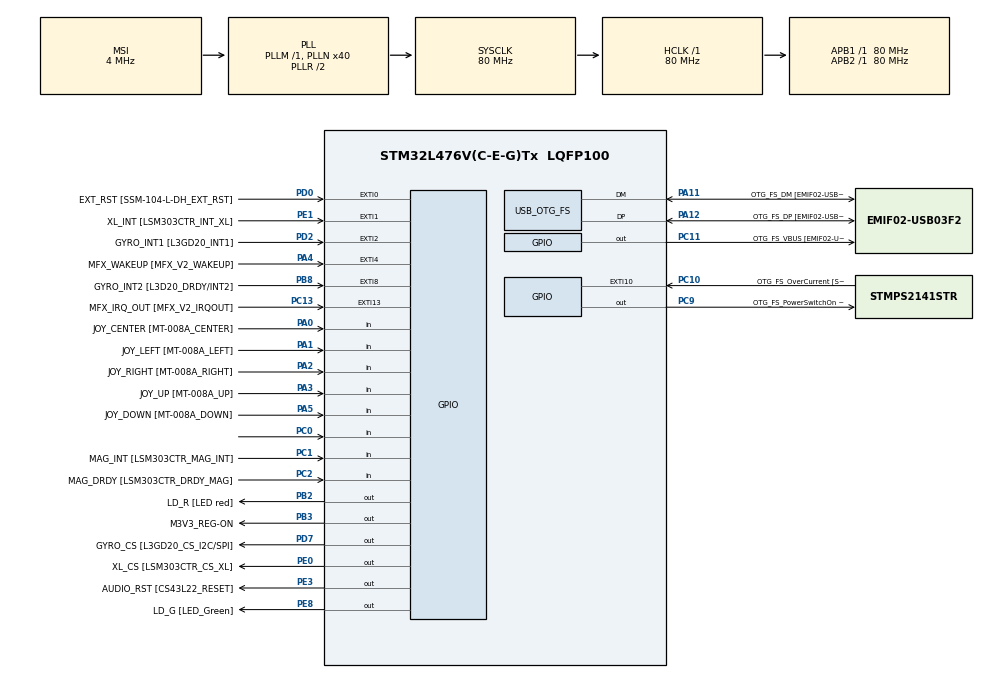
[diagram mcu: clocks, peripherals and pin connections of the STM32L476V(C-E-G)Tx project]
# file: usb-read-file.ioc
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Mcu.Family=STM32L4
Mcu.Name=STM32L476V(C-E-G)Tx
Mcu.Package=LQFP100
NVIC.OTG_FS_IRQn=true\:0\:0\:false\:false\:true\:true\:true\:true
NVIC.PriorityGroup=NVIC_PRIORITYGROUP_4
PA0.GPIO_Label=JOY_CENTER [MT-008A_CENTER]
PA0.GPIO_Mode=GPIO_MODE_INPUT
PA0.GPIO_PuPd=GPIO_PULLDOWN
PA0.Signal=GPIO_Input
PA1.GPIO_Label=JOY_LEFT [MT-008A_LEFT]
PA1.GPIO_Mode=GPIO_MODE_INPUT
PA1.GPIO_PuPd=GPIO_PULLDOWN
PA1.Signal=GPIO_Input
PA10.GPIO_Label=COM2 [GH08172T_COM2]
PA10.GPIO_Mode=GPIO_MODE_AF_PP
PA10.GPIO_PuPd=GPIO_NOPULL
PA10.GPIO_Speed=GPIO_SPEED_FREQ_LOW
PA10.Signal=LCD_COM2
PA11.GPIO_Label=OTG_FS_DM [EMIF02-USB03F2_D-out]
PA11.GPIO_Mode=GPIO_MODE_AF_PP
PA11.GPIO_PuPd=GPIO_NOPULL
PA11.GPIO_Speed=GPIO_SPEED_FREQ_VERY_HIGH
PA11.Mode=Host_Only
PA11.Signal=USB_OTG_FS_DM
PA12.GPIO_Label=OTG_FS_DP [EMIF02-USB03F2_D+out]
PA12.GPIO_Mode=GPIO_MODE_AF_PP
PA12.GPIO_PuPd=GPIO_NOPULL
PA12.GPIO_Speed=GPIO_SPEED_FREQ_VERY_HIGH
PA12.Mode=Host_Only
PA12.Signal=USB_OTG_FS_DP
PA13\ (JTMS-SWDIO).GPIO_Label=SWDIO
PA13\ (JTMS-SWDIO).Mode=Serial_Wire
PA13\ (JTMS-SWDIO).Signal=SYS_JTMS-SWDIO
PA14\ (JTCK-SWCLK).GPIO_Label=SWCLK
PA14\ (JTCK-SWCLK).Mode=Serial_Wire
PA14\ (JTCK-SWCLK).Signal=SYS_JTCK-SWCLK
PA15\ (JTDI).GPIO_Label=SEG10 [GH08172T_SEG10]
PA15\ (JTDI).GPIO_Mode=GPIO_MODE_AF_PP
PA15\ (JTDI).GPIO_PuPd=GPIO_NOPULL
PA15\ (JTDI).GPIO_Speed=GPIO_SPEED_FREQ_LOW
PA15\ (JTDI).Signal=LCD_SEG17
PA2.GPIO_Label=JOY_RIGHT [MT-008A_RIGHT]
PA2.GPIO_Mode=GPIO_MODE_INPUT
PA2.GPIO_PuPd=GPIO_PULLDOWN
PA2.Signal=GPIO_Input
PA3.GPIO_Label=JOY_UP [MT-008A_UP]
PA3.GPIO_Mode=GPIO_MODE_INPUT
PA3.GPIO_PuPd=GPIO_PULLDOWN
PA3.Signal=GPIO_Input
PA4.GPIO_Label=MFX_WAKEUP [MFX_V2_WAKEUP]
PA4.GPIO_ModeDefaultEXTI=GPIO_MODE_EVT_RISING
PA4.GPIO_PuPd=GPIO_NOPULL
PA4.Signal=GPXTI4
PA5.GPIO_Label=JOY_DOWN [MT-008A_DOWN]
PA5.GPIO_Mode=GPIO_MODE_INPUT
PA5.GPIO_PuPd=GPIO_PULLDOWN
PA5.Signal=GPIO_Input
PA6.GPIO_Label=SEG23 [GH08172T_SEG23]
PA6.GPIO_Mode=GPIO_MODE_AF_PP
PA6.GPIO_PuPd=GPIO_NOPULL
PA6.GPIO_Speed=GPIO_SPEED_FREQ_LOW
PA6.Signal=LCD_SEG3
PA7.GPIO_Label=SEG0 [GH08172T_SEG0]
PA7.GPIO_Mode=GPIO_MODE_AF_PP
PA7.GPIO_PuPd=GPIO_NOPULL
PA7.GPIO_Speed=GPIO_SPEED_FREQ_LOW
PA7.Signal=LCD_SEG4
PA8.GPIO_Label=COM0 [GH08172T_COM0]
PA8.GPIO_Mode=GPIO_MODE_AF_PP
PA8.GPIO_PuPd=GPIO_NOPULL
PA8.GPIO_Speed=GPIO_SPEED_FREQ_LOW
PA8.Signal=LCD_COM0
PA9.GPIO_Label=COM1 [GH08172T_COM1]
PA9.GPIO_Mode=GPIO_MODE_AF_PP
PA9.GPIO_PuPd=GPIO_NOPULL
PA9.GPIO_Speed=GPIO_SPEED_FREQ_LOW
PA9.Signal=LCD_COM1
PB0.GPIO_Label=SEG21 [GH08172T_SEG21]
PB0.GPIO_Mode=GPIO_MODE_AF_PP
PB0.GPIO_PuPd=GPIO_NOPULL
PB0.GPIO_Speed=GPIO_SPEED_FREQ_LOW
PB0.Signal=LCD_SEG5
PB1.GPIO_Label=SEG2 [GH08172T_SEG2]
PB1.GPIO_Mode=GPIO_MODE_AF_PP
PB1.GPIO_PuPd=GPIO_NOPULL
PB1.GPIO_Speed=GPIO_SPEED_FREQ_LOW
PB1.Signal=LCD_SEG6
PB10.GPIO_Label=MFX_I2C_SLC [MFX_V2_I2C_SCL]
PB10.GPIO_Mode=GPIO_MODE_AF_OD
PB10.GPIO_PuPdOD=GPIO_PULLUP
PB10.GPIO_Speed=GPIO_SPEED_FREQ_VERY_HIGH
PB10.Signal=I2C2_SCL
PB11.GPIO_Label=MFX_I2C_SDA [MFX_V2_I2C_SDA]
PB11.GPIO_Mode=GPIO_MODE_AF_OD
PB11.GPIO_PuPdOD=GPIO_PULLUP
PB11.GPIO_Speed=GPIO_SPEED_FREQ_VERY_HIGH
PB11.Signal=I2C2_SDA
PB12.GPIO_Label=SEG20 [GH08172T_SEG20]
PB12.GPIO_Mode=GPIO_MODE_AF_PP
PB12.GPIO_PuPd=GPIO_NOPULL
PB12.GPIO_Speed=GPIO_SPEED_FREQ_LOW
PB12.Signal=LCD_SEG12
PB13.GPIO_Label=SEG3 [GH08172T_SEG3]
PB13.GPIO_Mode=GPIO_MODE_AF_PP
PB13.GPIO_PuPd=GPIO_NOPULL
PB13.GPIO_Speed=GPIO_SPEED_FREQ_LOW
PB13.Signal=LCD_SEG13
PB14.GPIO_Label=SEG19 [GH08172T_SEG19]
PB14.GPIO_Mode=GPIO_MODE_AF_PP
PB14.GPIO_PuPd=GPIO_NOPULL
PB14.GPIO_Speed=GPIO_SPEED_FREQ_LOW
PB14.Signal=LCD_SEG14
PB15.GPIO_Label=SEG4 [GH08172T_SEG4]
PB15.GPIO_Mode=GPIO_MODE_AF_PP
PB15.GPIO_PuPd=GPIO_NOPULL
PB15.GPIO_Speed=GPIO_SPEED_FREQ_LOW
PB15.Signal=LCD_SEG15
PB2.GPIO_Label=LD_R [LED red]
PB2.GPIO_ModeDefaultOutputPP=GPIO_MODE_OUTPUT_PP
PB2.GPIO_PuPd=GPIO_PULLUP
PB2.GPIO_Speed=GPIO_SPEED_FREQ_VERY_HIGH
PB2.Signal=GPIO_Output
PB3\ (JTDO-TRACESWO).GPIO_Label=M3V3_REG-ON
PB3\ (JTDO-TRACESWO).GPIO_ModeDefaultOutputPP=GPIO_MODE_OUTPUT_PP
PB3\ (JTDO-TRACESWO).GPIO_PuPd=GPIO_NOPULL
PB3\ (JTDO-TRACESWO).GPIO_Speed=GPIO_SPEED_FREQ_LOW
PB3\ (JTDO-TRACESWO).Signal=GPIO_Output
PB4\ (NJTRST).GPIO_Label=SEG11 [GH08172T_SEG11]
PB4\ (NJTRST).GPIO_Mode=GPIO_MODE_AF_PP
PB4\ (NJTRST).GPIO_PuPd=GPIO_NOPULL
PB4\ (NJTRST).GPIO_Speed=GPIO_SPEED_FREQ_LOW
PB4\ (NJTRST).Signal=LCD_SEG8
PB5.GPIO_Label=SEG12 [GH08172T_SEG12]
PB5.GPIO_Mode=GPIO_MODE_AF_PP
PB5.GPIO_PuPd=GPIO_NOPULL
PB5.GPIO_Speed=GPIO_SPEED_FREQ_LOW
PB5.Signal=LCD_SEG9
PB6.GPIO_FM6=__NULL
PB6.GPIO_Label=I2C1_SCL [SSM-104-L-DH_SCL]
PB6.GPIO_Mode=GPIO_MODE_AF_OD
PB6.GPIO_PuPdOD=GPIO_PULLUP
PB6.GPIO_Speed=GPIO_SPEED_FREQ_VERY_HIGH
PB6.Signal=I2C1_SCL
PB7.GPIO_FM7=__NULL
PB7.GPIO_Label=I2C1_SDA [SSM-104-L-DH_SDA]
PB7.GPIO_Mode=GPIO_MODE_AF_OD
PB7.GPIO_PuPdOD=GPIO_PULLUP
PB7.GPIO_Speed=GPIO_SPEED_FREQ_VERY_HIGH
PB7.Signal=I2C1_SDA
PB8.GPIO_Label=GYRO_INT2 [L3D20_DRDY/INT2]
PB8.GPIO_ModeDefaultEXTI=GPIO_MODE_EVT_RISING
PB8.GPIO_PuPd=GPIO_NOPULL
PB8.Signal=GPXTI8
PB9.GPIO_FM9=__NULL
PB9.GPIO_Label=COM3 [GH08172T_COM3]
PB9.GPIO_Mode=GPIO_MODE_AF_PP
PB9.GPIO_PuPd=GPIO_NOPULL
PB9.GPIO_Speed=GPIO_SPEED_FREQ_LOW
PB9.Signal=LCD_COM3
PC0.Signal=GPIO_Input
PC1.GPIO_Label=MAG_INT [LSM303CTR_MAG_INT]
PC1.GPIO_Mode=GPIO_MODE_INPUT
PC1.GPIO_PuPd=GPIO_NOPULL
PC1.Signal=GPIO_Input
PC10.GPIO_Label=OTG_FS_OverCurrent [STMPS2141STR_FAULT]
PC10.GPIO_ModeDefaultEXTI=GPIO_MODE_EVT_RISING
PC10.GPIO_PuPd=GPIO_NOPULL
PC10.Signal=GPXTI10
PC11.GPIO_Label=OTG_FS_VBUS [EMIF02-USB03F2_Vbus]
PC11.GPIO_ModeDefaultOutputPP=GPIO_MODE_OUTPUT_PP
PC11.GPIO_PuPd=GPIO_NOPULL
PC11.GPIO_Speed=GPIO_SPEED_FREQ_LOW
PC11.Signal=GPIO_Output
PC13.GPIO_Label=MFX_IRQ_OUT [MFX_V2_IRQOUT]
PC13.GPIO_ModeDefaultEXTI=GPIO_MODE_EVT_RISING
PC13.GPIO_PuPd=GPIO_NOPULL
PC13.Signal=GPXTI13
PC14-OSC32_IN\ (PC14).Mode=LSE-External-Oscillator
PC14-OSC32_IN\ (PC14).Signal=RCC_OSC32_IN
PC15-OSC32_OUT\ (PC15).Mode=LSE-External-Oscillator
PC15-OSC32_OUT\ (PC15).Signal=RCC_OSC32_OUT
PC2.GPIO_Label=MAG_DRDY [LSM303CTR_DRDY_MAG]
PC2.GPIO_Mode=GPIO_MODE_INPUT
PC2.GPIO_PuPd=GPIO_NOPULL
PC2.Signal=GPIO_Input
PC3.GPIO_Label=VLCD
PC3.GPIO_Mode=GPIO_MODE_AF_PP
PC3.GPIO_PuPd=GPIO_NOPULL
PC3.GPIO_Speed=GPIO_SPEED_FREQ_LOW
PC3.Signal=LCD_VLCD
PC4.GPIO_Label=SEG22 [GH08172T_SEG22]
PC4.GPIO_Mode=GPIO_MODE_AF_PP
PC4.GPIO_PuPd=GPIO_NOPULL
PC4.GPIO_Speed=GPIO_SPEED_FREQ_LOW
PC4.Signal=LCD_SEG22
PC5.GPIO_Label=SEG1 [GH08172T_SEG1]
PC5.GPIO_Mode=GPIO_MODE_AF_PP
PC5.GPIO_PuPd=GPIO_NOPULL
PC5.GPIO_Speed=GPIO_SPEED_FREQ_LOW
PC5.Signal=LCD_SEG23
PC6.GPIO_Label=SEG14 [GH08172T_SEG14]
PC6.GPIO_Mode=GPIO_MODE_AF_PP
PC6.GPIO_PuPd=GPIO_NOPULL
PC6.GPIO_Speed=GPIO_SPEED_FREQ_LOW
PC6.Signal=LCD_SEG24
PC7.GPIO_Label=SEG9 [GH08172T_SEG9]
PC7.GPIO_Mode=GPIO_MODE_AF_PP
PC7.GPIO_PuPd=GPIO_NOPULL
PC7.GPIO_Speed=GPIO_SPEED_FREQ_LOW
PC7.Signal=LCD_SEG25
PC8.GPIO_Label=SEG13 [GH08172T_SEG13]
PC8.GPIO_Mode=GPIO_MODE_AF_PP
PC8.GPIO_PuPd=GPIO_NOPULL
PC8.GPIO_Speed=GPIO_SPEED_FREQ_LOW
PC8.Signal=LCD_SEG26
PC9.GPIO_Label=OTG_FS_PowerSwitchOn [STMPS2141STR_EN]
PC9.GPIO_ModeDefaultOutputPP=GPIO_MODE_OUTPUT_PP
PC9.GPIO_PuPd=GPIO_NOPULL
PC9.GPIO_Speed=GPIO_SPEED_FREQ_LOW
PC9.PinState=GPIO_PIN_SET
PC9.Signal=GPIO_Output
PD0.GPIO_Label=EXT_RST [SSM-104-L-DH_EXT_RST]
PD0.GPIO_ModeDefaultEXTI=GPIO_MODE_EVT_RISING
PD0.GPIO_PuPd=GPIO_NOPULL
PD0.Signal=GPXTI0
PD1.GPIO_Label=MEMS_SCK [L3GD20_SCL/SPC]
PD1.GPIO_Mode=GPIO_MODE_AF_PP
PD1.GPIO_PuPd=GPIO_NOPULL
PD1.GPIO_Speed=GPIO_SPEED_FREQ_VERY_HIGH
PD1.Signal=SPI2_SCK
PD10.GPIO_Label=SEG17 [GH08172T_SEG17]
PD10.GPIO_Mode=GPIO_MODE_AF_PP
PD10.GPIO_PuPd=GPIO_NOPULL
PD10.GPIO_Speed=GPIO_SPEED_FREQ_LOW
PD10.Signal=LCD_SEG30
PD11.GPIO_Label=SEG6 [GH08172T_SEG6]
PD11.GPIO_Mode=GPIO_MODE_AF_PP
PD11.GPIO_PuPd=GPIO_NOPULL
PD11.GPIO_Speed=GPIO_SPEED_FREQ_LOW
PD11.Signal=LCD_SEG31
PD12.GPIO_Label=SEG16 [GH08172T_SEG16]
PD12.GPIO_Mode=GPIO_MODE_AF_PP
PD12.GPIO_PuPd=GPIO_NOPULL
PD12.GPIO_Speed=GPIO_SPEED_FREQ_LOW
PD12.Signal=LCD_SEG32
PD13.GPIO_Label=SEG7 [GH08172T_SEG7]
PD13.GPIO_Mode=GPIO_MODE_AF_PP
PD13.GPIO_PuPd=GPIO_NOPULL
PD13.GPIO_Speed=GPIO_SPEED_FREQ_LOW
PD13.Signal=LCD_SEG33
PD14.GPIO_Label=SEG15 [GH08172T_SEG15]
PD14.GPIO_Mode=GPIO_MODE_AF_PP
PD14.GPIO_PuPd=GPIO_NOPULL
PD14.GPIO_Speed=GPIO_SPEED_FREQ_LOW
PD14.Signal=LCD_SEG34
PD15.GPIO_Label=SEG8 [GH08172T_SEG8]
PD15.GPIO_Mode=GPIO_MODE_AF_PP
PD15.GPIO_PuPd=GPIO_NOPULL
PD15.GPIO_Speed=GPIO_SPEED_FREQ_LOW
PD15.Signal=LCD_SEG35
PD2.GPIO_Label=GYRO_INT1 [L3GD20_INT1]
PD2.GPIO_ModeDefaultEXTI=GPIO_MODE_EVT_RISING
PD2.GPIO_PuPd=GPIO_NOPULL
PD2.Signal=GPXTI2
PD3.GPIO_Label=MEMS_MISO [L3GD20_SA0/SDO]
PD3.GPIO_Mode=GPIO_MODE_AF_PP
PD3.GPIO_PuPd=GPIO_NOPULL
PD3.GPIO_Speed=GPIO_SPEED_FREQ_VERY_HIGH
PD3.Signal=SPI2_MISO
PD4.GPIO_Label=MEMS_MOSI [L3GD20_SDA/SDI/SDO]
PD4.GPIO_Mode=GPIO_MODE_AF_PP
PD4.GPIO_PuPd=GPIO_NOPULL
PD4.GPIO_Speed=GPIO_SPEED_FREQ_VERY_HIGH
PD4.Signal=SPI2_MOSI
PD5.GPIO_Label=USART_TX
PD5.GPIO_Mode=GPIO_MODE_AF_PP
PD5.GPIO_PuPd=GPIO_PULLUP
PD5.GPIO_Speed=GPIO_SPEED_FREQ_VERY_HIGH
PD5.Signal=USART2_TX
PD6.GPIO_Label=USART_RX
PD6.GPIO_Mode=GPIO_MODE_AF_PP
PD6.GPIO_PuPd=GPIO_PULLUP
PD6.GPIO_Speed=GPIO_SPEED_FREQ_VERY_HIGH
PD6.Signal=USART2_RX
PD7.GPIO_Label=GYRO_CS [L3GD20_CS_I2C/SPI]
PD7.GPIO_ModeDefaultOutputPP=GPIO_MODE_OUTPUT_PP
PD7.GPIO_PuPd=GPIO_NOPULL
PD7.GPIO_Speed=GPIO_SPEED_FREQ_VERY_HIGH
PD7.Signal=GPIO_Output
PD8.GPIO_Label=SEG18 [GH08172T_SEG18]
PD8.GPIO_Mode=GPIO_MODE_AF_PP
PD8.GPIO_PuPd=GPIO_NOPULL
PD8.GPIO_Speed=GPIO_SPEED_FREQ_LOW
PD8.Signal=LCD_SEG28
PD9.GPIO_Label=SEG5 [GH08172T_SEG5]
PD9.GPIO_Mode=GPIO_MODE_AF_PP
PD9.GPIO_PuPd=GPIO_NOPULL
PD9.GPIO_Speed=GPIO_SPEED_FREQ_LOW
PD9.Signal=LCD_SEG29
PE0.GPIO_Label=XL_CS [LSM303CTR_CS_XL]
PE0.GPIO_ModeDefaultOutputPP=GPIO_MODE_OUTPUT_PP
PE0.GPIO_PuPd=GPIO_NOPULL
PE0.GPIO_Speed=GPIO_SPEED_FREQ_LOW
PE0.Signal=GPIO_Output
PE1.GPIO_Label=XL_INT [LSM303CTR_INT_XL]
PE1.GPIO_ModeDefaultEXTI=GPIO_MODE_EVT_RISING
PE1.GPIO_PuPd=GPIO_NOPULL
PE1.Signal=GPXTI1
PE10.GPIO_Label=QSPI_CLK [N25Q128A13EF840E_C]
PE10.GPIO_Mode=GPIO_MODE_AF_PP
PE10.GPIO_PuPd=GPIO_NOPULL
PE10.GPIO_Speed=GPIO_SPEED_FREQ_VERY_HIGH
PE10.Signal=QUADSPI_CLK
PE11.GPIO_Label=QSPI_CS [N25Q128A13EF840E_S\#]
PE11.GPIO_Mode=GPIO_MODE_AF_PP
PE11.GPIO_PuPd=GPIO_NOPULL
PE11.GPIO_Speed=GPIO_SPEED_FREQ_VERY_HIGH
PE11.Signal=QUADSPI_NCS
PE12.GPIO_Label=QSPI_D0 [N25Q128A13EF840E_DQ0]
PE12.GPIO_Mode=GPIO_MODE_AF_PP
PE12.GPIO_PuPd=GPIO_NOPULL
PE12.GPIO_Speed=GPIO_SPEED_FREQ_VERY_HIGH
PE12.Signal=QUADSPI_BK1_IO0
PE13.GPIO_Label=QSPI_D1 [N25Q128A13EF840E_DQ1]
PE13.GPIO_Mode=GPIO_MODE_AF_PP
PE13.GPIO_PuPd=GPIO_NOPULL
PE13.GPIO_Speed=GPIO_SPEED_FREQ_VERY_HIGH
PE13.Signal=QUADSPI_BK1_IO1
PE14.GPIO_Label=QSPI_D2 [N25Q128A13EF840E_DQ2]
PE14.GPIO_Mode=GPIO_MODE_AF_PP
PE14.GPIO_PuPd=GPIO_NOPULL
PE14.GPIO_Speed=GPIO_SPEED_FREQ_VERY_HIGH
PE14.Signal=QUADSPI_BK1_IO2
PE15.GPIO_Label=QSPI_D3 [N25Q128A13EF840E_DQ3]
PE15.GPIO_Mode=GPIO_MODE_AF_PP
PE15.GPIO_PuPd=GPIO_NOPULL
PE15.GPIO_Speed=GPIO_SPEED_FREQ_VERY_HIGH
PE15.Signal=QUADSPI_BK1_IO3
PE2.GPIO_Label=SAI1_MCK [CS43L22_MCLK]
PE2.GPIO_Mode=GPIO_MODE_AF_PP
PE2.GPIO_PuPd=GPIO_NOPULL
PE2.GPIO_Speed=GPIO_SPEED_FREQ_VERY_HIGH
PE2.Signal=SAI1_MCLK_A
PE3.GPIO_Label=AUDIO_RST [CS43L22_RESET]
PE3.GPIO_ModeDefaultOutputPP=GPIO_MODE_OUTPUT_PP
PE3.GPIO_PuPd=GPIO_NOPULL
PE3.GPIO_Speed=GPIO_SPEED_FREQ_HIGH
PE3.Signal=GPIO_Output
PE4.GPIO_Label=SAI1_FS [CS43L22_LRCK]
PE4.GPIO_Mode=GPIO_MODE_AF_PP
PE4.GPIO_PuPd=GPIO_NOPULL
PE4.GPIO_Speed=GPIO_SPEED_FREQ_VERY_HIGH
PE4.Signal=SAI1_FS_A
PE5.GPIO_Label=SAI1_SCK [CS43L22_SCLK]
PE5.GPIO_Mode=GPIO_MODE_AF_PP
PE5.GPIO_PuPd=GPIO_NOPULL
PE5.GPIO_Speed=GPIO_SPEED_FREQ_VERY_HIGH
PE5.Signal=SAI1_SCK_A
PE6.GPIO_Label=SAI1_SD [CS43L22_SDIN]
PE6.GPIO_Mode=GPIO_MODE_AF_PP
PE6.GPIO_PuPd=GPIO_NOPULL
PE6.GPIO_Speed=GPIO_SPEED_FREQ_VERY_HIGH
PE6.Signal=SAI1_SD_A
PE7.GPIO_Label=AUDIO_DIN [MP34DT01_DOUT]
PE7.GPIO_Mode=GPIO_MODE_AF_PP
PE7.GPIO_PuPd=GPIO_NOPULL
PE7.GPIO_Speed=GPIO_SPEED_FREQ_VERY_HIGH
PE7.Signal=SAI1_SD_B
PE8.GPIO_Label=LD_G [LED_Green]
PE8.GPIO_ModeDefaultOutputPP=GPIO_MODE_OUTPUT_PP
PE8.GPIO_PuPd=GPIO_PULLUP
PE8.GPIO_Speed=GPIO_SPEED_FREQ_VERY_HIGH
PE8.Signal=GPIO_Output
PE9.GPIO_Label=AUDIO_CLK [MP34DT01_CLK]
PE9.GPIO_Mode=GPIO_MODE_AF_PP
PE9.GPIO_PuPd=GPIO_NOPULL
PE9.GPIO_Speed=GPIO_SPEED_FREQ_LOW
PE9.Signal=SAI1_FS_B
PH0-OSC_IN\ (PH0).Mode=HSE-External-Oscillator
PH0-OSC_IN\ (PH0).Signal=RCC_OSC_IN
PH1-OSC_OUT\ (PH1).Mode=HSE-External-Oscillator
PH1-OSC_OUT\ (PH1).Signal=RCC_OSC_OUT
ProjectManager.HeapSize=0x400
ProjectManager.StackSize=0x800
ProjectManager.TargetToolchain=MDK-ARM V5.27
RCC.ADCFreq_Value=48000000
RCC.AHBFreq_Value=80000000
RCC.APB1Freq_Value=80000000
RCC.APB1TimFreq_Value=80000000
RCC.APB2Freq_Value=80000000
RCC.APB2TimFreq_Value=80000000
RCC.CortexFreq_Value=80000000
RCC.HCLKFreq_Value=80000000
RCC.HSE_VALUE=8000000
RCC.HSI_VALUE=16000000
RCC.MSI_VALUE=4000000
RCC.PLLN=40
RCC.PLLSAI1N=24
RCC.PREFETCH_ENABLE=1
RCC.SYSCLKFreq_VALUE=80000000
RCC.SYSCLKSource=RCC_SYSCLKSOURCE_PLLCLK
RCC.USBFreq_Value=48000000
RCC.VCOOutputFreq_Value=160000000
USB_HOST.BSP.number=1
USB_HOST.USBH_HandleTypeDef=hUsbHostFS
USB_HOST.VirtualModeFS=Msc
USB_HOST0.BSP.STBoard=false
USB_HOST0.BSP.api=Unknown
USB_HOST0.BSP.instance=PC9
USB_HOST0.BSP.ip=GPIO
USB_HOST0.BSP.mode=Output
USB_HOST0.BSP.name=Drive_VBUS_FS
USB_HOST0.BSP.solution=PC9
USB_OTG_FS.VirtualMode=Host_Only
USB_OTG_FS.phy_itface=HCD_PHY_EMBEDDED
VP_FATFS_VS_USB.Mode=USB
VP_USB_HOST_VS_USB_HOST_MSC_FS.Mode=MSC_FS
board=STM32L476G-DISCO

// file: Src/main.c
/* USER CODE BEGIN Header */
/**
  ******************************************************************************
  * @file           : main.c
  * @brief          : Main program body
  ******************************************************************************
  * @attention
  *
  * <h2><center>&copy; Copyright (c) 2020 STMicroelectronics.
  * All rights reserved.</center></h2>
  *
  * This software component is licensed by ST under Ultimate Liberty license
  * SLA0044, the "License"; You may not use this file except in compliance with
  * the License. You may obtain a copy of the License at:
  *                             www.st.com/SLA0044
  *
  ******************************************************************************
  */
/* USER CODE END Header */
#include "main.h"
#include "fatfs.h"
#include "usb_host.h"

/* USER CODE BEGIN PV */

extern ApplicationTypeDef Appli_state;
uint8_t rtext[2000]; 	/* File read buffer */
char *rfilename = "gburg.txt";

FIL MyFile;                   /* File object */

/* USER CODE END PV */

void SystemClock_Config(void);
static void MX_GPIO_Init(void);
void MX_USB_HOST_Process(void);

/* USER CODE BEGIN 0 */

/**
  * @brief  Main routine for Mass Storage Class
  * @param  None
  * @retval None
  */
static void FS_FileOperations(void) {
	FRESULT res;                            /* FatFs function common result code */
  uint32_t bytesread;                     /* File write/read counts */

	 /* Register the file system object to the FatFs module */
  if(f_mount(&USBHFatFS, (TCHAR const*)USBHPath, 0) == FR_OK) {
		/* Open the text file object with read access */
		if(f_open(&MyFile, rfilename, FA_READ) == FR_OK) {
			/* Read data from the text file */
			res = f_read(&MyFile, rtext, sizeof(rtext)-1, &bytesread);
			if((bytesread > 0) && (res == FR_OK)) {
				/* Close the open text file */
				f_close(&MyFile);
				/* Compare read data with the expected data */
			 HAL_GPIO_WritePin(LD_G_GPIO_Port, LD_G_Pin, GPIO_PIN_SET);
			 return;
			}
		}
	}
	HAL_GPIO_WritePin(LD_R_GPIO_Port, LD_R_Pin, GPIO_PIN_SET);
}

/* USER CODE END 0 */

int main(void)
{

  /* MCU Configuration--------------------------------------------------------*/

  /* Reset of all peripherals, Initializes the Flash interface and the Systick. */
  HAL_Init();

  /* Configure the system clock */
  SystemClock_Config();

  /* Initialize all configured peripherals */
  MX_GPIO_Init();
  MX_USB_HOST_Init();
  MX_FATFS_Init();

  /* Infinite loop */
  while (1)
  {
    MX_USB_HOST_Process();

    /* USER CODE BEGIN 3 */
    /* Mass Storage Application State Machine */
    switch(Appli_state) {
      case APPLICATION_READY:
        FS_FileOperations();
        Appli_state = APPLICATION_IDLE;
        break;

      case APPLICATION_IDLE:
        default:
        break;
      }
		}
  /* USER CODE END 3 */
}

void SystemClock_Config(void)
{
  RCC_OscInitTypeDef RCC_OscInitStruct = {0};
  RCC_ClkInitTypeDef RCC_ClkInitStruct = {0};

  /** Configure the main internal regulator output voltage
  */
  if (HAL_PWREx_ControlVoltageScaling(PWR_REGULATOR_VOLTAGE_SCALE1) != HAL_OK)
  {
    Error_Handler();
  }

  /** Configure LSE Drive Capability
  */
  HAL_PWR_EnableBkUpAccess();
  __HAL_RCC_LSEDRIVE_CONFIG(RCC_LSEDRIVE_LOW);

  /** Initializes the RCC Oscillators according to the specified parameters
  * in the RCC_OscInitTypeDef structure.
  */
  RCC_OscInitStruct.OscillatorType = RCC_OSCILLATORTYPE_LSE|RCC_OSCILLATORTYPE_MSI;
  RCC_OscInitStruct.LSEState = RCC_LSE_ON;
  RCC_OscInitStruct.MSIState = RCC_MSI_ON;
  RCC_OscInitStruct.MSICalibrationValue = 0;
  RCC_OscInitStruct.MSIClockRange = RCC_MSIRANGE_6;
  RCC_OscInitStruct.PLL.PLLState = RCC_PLL_ON;
  RCC_OscInitStruct.PLL.PLLSource = RCC_PLLSOURCE_MSI;
  RCC_OscInitStruct.PLL.PLLM = 1;
  RCC_OscInitStruct.PLL.PLLN = 40;
  RCC_OscInitStruct.PLL.PLLP = RCC_PLLP_DIV7;
  RCC_OscInitStruct.PLL.PLLQ = RCC_PLLQ_DIV2;
  RCC_OscInitStruct.PLL.PLLR = RCC_PLLR_DIV2;
  if (HAL_RCC_OscConfig(&RCC_OscInitStruct) != HAL_OK)
  {
    Error_Handler();
  }

  /** Initializes the CPU, AHB and APB buses clocks
  */
  RCC_ClkInitStruct.ClockType = RCC_CLOCKTYPE_HCLK|RCC_CLOCKTYPE_SYSCLK
                              |RCC_CLOCKTYPE_PCLK1|RCC_CLOCKTYPE_PCLK2;
  RCC_ClkInitStruct.SYSCLKSource = RCC_SYSCLKSOURCE_PLLCLK;
  RCC_ClkInitStruct.AHBCLKDivider = RCC_SYSCLK_DIV1;
  RCC_ClkInitStruct.APB1CLKDivider = RCC_HCLK_DIV1;
  RCC_ClkInitStruct.APB2CLKDivider = RCC_HCLK_DIV1;

  if (HAL_RCC_ClockConfig(&RCC_ClkInitStruct, FLASH_LATENCY_4) != HAL_OK)
  {
    Error_Handler();
  }

  /** Enable MSI Auto calibration
  */
  HAL_RCCEx_EnableMSIPLLMode();
}

static void MX_GPIO_Init(void)
{
  GPIO_InitTypeDef GPIO_InitStruct = {0};

  /* GPIO Ports Clock Enable */
  __HAL_RCC_GPIOE_CLK_ENABLE();
  __HAL_RCC_GPIOC_CLK_ENABLE();
  __HAL_RCC_GPIOH_CLK_ENABLE();
  __HAL_RCC_GPIOA_CLK_ENABLE();
  __HAL_RCC_GPIOB_CLK_ENABLE();
  __HAL_RCC_GPIOD_CLK_ENABLE();

  /*Configure GPIO pin Output Level */
  HAL_GPIO_WritePin(GPIOE, AUDIO_RST_Pin|LD_G_Pin|XL_CS_Pin, GPIO_PIN_RESET);

  /*Configure GPIO pin Output Level */
  HAL_GPIO_WritePin(GPIOB, LD_R_Pin|M3V3_REG_ON_Pin, GPIO_PIN_RESET);

  /*Configure GPIO pin Output Level */
  HAL_GPIO_WritePin(OTG_FS_PowerSwitchOn_GPIO_Port, OTG_FS_PowerSwitchOn_Pin, GPIO_PIN_SET);

  /*Configure GPIO pin Output Level */
  HAL_GPIO_WritePin(OTG_FS_VBUS_GPIO_Port, OTG_FS_VBUS_Pin, GPIO_PIN_RESET);

  /*Configure GPIO pin Output Level */
  HAL_GPIO_WritePin(GYRO_CS_GPIO_Port, GYRO_CS_Pin, GPIO_PIN_RESET);

  /*Configure GPIO pins : SAI1_MCK_Pin SAI1_FS_Pin SAI1_SCK_Pin SAI1_SD_Pin
                           AUDIO_DIN_Pin */
  GPIO_InitStruct.Pin = SAI1_MCK_Pin|SAI1_FS_Pin|SAI1_SCK_Pin|SAI1_SD_Pin
                          |AUDIO_DIN_Pin;
  GPIO_InitStruct.Mode = GPIO_MODE_AF_PP;
  GPIO_InitStruct.Pull = GPIO_NOPULL;
  GPIO_InitStruct.Speed = GPIO_SPEED_FREQ_VERY_HIGH;
  GPIO_InitStruct.Alternate = GPIO_AF13_SAI1;
  HAL_GPIO_Init(GPIOE, &GPIO_InitStruct);

  /*Configure GPIO pin : AUDIO_RST_Pin */
  GPIO_InitStruct.Pin = AUDIO_RST_Pin;
  GPIO_InitStruct.Mode = GPIO_MODE_OUTPUT_PP;
  GPIO_InitStruct.Pull = GPIO_NOPULL;
  GPIO_InitStruct.Speed = GPIO_SPEED_FREQ_HIGH;
  HAL_GPIO_Init(AUDIO_RST_GPIO_Port, &GPIO_InitStruct);

  /*Configure GPIO pins : MFX_IRQ_OUT_Pin OTG_FS_OverCurrent_Pin */
  GPIO_InitStruct.Pin = MFX_IRQ_OUT_Pin|OTG_FS_OverCurrent_Pin;
  GPIO_InitStruct.Mode = GPIO_MODE_EVT_RISING;
  GPIO_InitStruct.Pull = GPIO_NOPULL;
  HAL_GPIO_Init(GPIOC, &GPIO_InitStruct);

  /*Configure GPIO pins : PC0 MAG_INT_Pin MAG_DRDY_Pin */
  GPIO_InitStruct.Pin = GPIO_PIN_0|MAG_INT_Pin|MAG_DRDY_Pin;
  GPIO_InitStruct.Mode = GPIO_MODE_INPUT;
  GPIO_InitStruct.Pull = GPIO_NOPULL;
  HAL_GPIO_Init(GPIOC, &GPIO_InitStruct);

  /*Configure GPIO pins : VLCD_Pin SEG22_Pin SEG1_Pin SEG14_Pin
                           SEG9_Pin SEG13_Pin */
  GPIO_InitStruct.Pin = VLCD_Pin|SEG22_Pin|SEG1_Pin|SEG14_Pin
                          |SEG9_Pin|SEG13_Pin;
  GPIO_InitStruct.Mode = GPIO_MODE_AF_PP;
  GPIO_InitStruct.Pull = GPIO_NOPULL;
  GPIO_InitStruct.Speed = GPIO_SPEED_FREQ_LOW;
  GPIO_InitStruct.Alternate = GPIO_AF11_LCD;
  HAL_GPIO_Init(GPIOC, &GPIO_InitStruct);

  /*Configure GPIO pins : JOY_CENTER_Pin JOY_LEFT_Pin JOY_RIGHT_Pin JOY_UP_Pin
                           JOY_DOWN_Pin */
  GPIO_InitStruct.Pin = JOY_CENTER_Pin|JOY_LEFT_Pin|JOY_RIGHT_Pin|JOY_UP_Pin
                          |JOY_DOWN_Pin;
  GPIO_InitStruct.Mode = GPIO_MODE_INPUT;
  GPIO_InitStruct.Pull = GPIO_PULLDOWN;
  HAL_GPIO_Init(GPIOA, &GPIO_InitStruct);

  /*Configure GPIO pin : MFX_WAKEUP_Pin */
  GPIO_InitStruct.Pin = MFX_WAKEUP_Pin;
  GPIO_InitStruct.Mode = GPIO_MODE_EVT_RISING;
  GPIO_InitStruct.Pull = GPIO_NOPULL;
  HAL_GPIO_Init(MFX_WAKEUP_GPIO_Port, &GPIO_InitStruct);

  /*Configure GPIO pins : SEG23_Pin SEG0_Pin COM0_Pin COM1_Pin
                           COM2_Pin SEG10_Pin */
  GPIO_InitStruct.Pin = SEG23_Pin|SEG0_Pin|COM0_Pin|COM1_Pin
                          |COM2_Pin|SEG10_Pin;
  GPIO_InitStruct.Mode = GPIO_MODE_AF_PP;
  GPIO_InitStruct.Pull = GPIO_NOPULL;
  GPIO_InitStruct.Speed = GPIO_SPEED_FREQ_LOW;
  GPIO_InitStruct.Alternate = GPIO_AF11_LCD;
  HAL_GPIO_Init(GPIOA, &GPIO_InitStruct);

  /*Configure GPIO pins : SEG21_Pin SEG2_Pin SEG20_Pin SEG3_Pin
                           SEG19_Pin SEG4_Pin SEG11_Pin SEG12_Pin
                           COM3_Pin */
  GPIO_InitStruct.Pin = SEG21_Pin|SEG2_Pin|SEG20_Pin|SEG3_Pin
                          |SEG19_Pin|SEG4_Pin|SEG11_Pin|SEG12_Pin
                          |COM3_Pin;
  GPIO_InitStruct.Mode = GPIO_MODE_AF_PP;
  GPIO_InitStruct.Pull = GPIO_NOPULL;
  GPIO_InitStruct.Speed = GPIO_SPEED_FREQ_LOW;
  GPIO_InitStruct.Alternate = GPIO_AF11_LCD;
  HAL_GPIO_Init(GPIOB, &GPIO_InitStruct);

  /*Configure GPIO pin : LD_R_Pin */
  GPIO_InitStruct.Pin = LD_R_Pin;
  GPIO_InitStruct.Mode = GPIO_MODE_OUTPUT_PP;
  GPIO_InitStruct.Pull = GPIO_PULLUP;
  GPIO_InitStruct.Speed = GPIO_SPEED_FREQ_VERY_HIGH;
  HAL_GPIO_Init(LD_R_GPIO_Port, &GPIO_InitStruct);

  /*Configure GPIO pin : LD_G_Pin */
  GPIO_InitStruct.Pin = LD_G_Pin;
  GPIO_InitStruct.Mode = GPIO_MODE_OUTPUT_PP;
  GPIO_InitStruct.Pull = GPIO_PULLUP;
  GPIO_InitStruct.Speed = GPIO_SPEED_FREQ_VERY_HIGH;
  HAL_GPIO_Init(LD_G_GPIO_Port, &GPIO_InitStruct);

  /*Configure GPIO pin : AUDIO_CLK_Pin */
  GPIO_InitStruct.Pin = AUDIO_CLK_Pin;
  GPIO_InitStruct.Mode = GPIO_MODE_AF_PP;
  GPIO_InitStruct.Pull = GPIO_NOPULL;
  GPIO_InitStruct.Speed = GPIO_SPEED_FREQ_LOW;
  GPIO_InitStruct.Alternate = GPIO_AF13_SAI1;
  HAL_GPIO_Init(AUDIO_CLK_GPIO_Port, &GPIO_InitStruct);

  /*Configure GPIO pins : QSPI_CLK_Pin QSPI_CS_Pin QSPI_D0_Pin QSPI_D1_Pin
                           QSPI_D2_Pin QSPI_D3_Pin */
  GPIO_InitStruct.Pin = QSPI_CLK_Pin|QSPI_CS_Pin|QSPI_D0_Pin|QSPI_D1_Pin
                          |QSPI_D2_Pin|QSPI_D3_Pin;
  GPIO_InitStruct.Mode = GPIO_MODE_AF_PP;
  GPIO_InitStruct.Pull = GPIO_NOPULL;
  GPIO_InitStruct.Speed = GPIO_SPEED_FREQ_VERY_HIGH;
  GPIO_InitStruct.Alternate = GPIO_AF10_QUADSPI;
  HAL_GPIO_Init(GPIOE, &GPIO_InitStruct);

  /*Configure GPIO pins : MFX_I2C_SLC_Pin MFX_I2C_SDA_Pin */
  GPIO_InitStruct.Pin = MFX_I2C_SLC_Pin|MFX_I2C_SDA_Pin;
  GPIO_InitStruct.Mode = GPIO_MODE_AF_OD;
  GPIO_InitStruct.Pull = GPIO_NOPULL;
  GPIO_InitStruct.Speed = GPIO_SPEED_FREQ_VERY_HIGH;
  GPIO_InitStruct.Alternate = GPIO_AF4_I2C2;
  HAL_GPIO_Init(GPIOB, &GPIO_InitStruct);

  /*Configure GPIO pins : SEG18_Pin SEG5_Pin SEG17_Pin SEG6_Pin
                           SEG16_Pin SEG7_Pin SEG15_Pin SEG8_Pin */
  GPIO_InitStruct.Pin = SEG18_Pin|SEG5_Pin|SEG17_Pin|SEG6_Pin
                          |SEG16_Pin|SEG7_Pin|SEG15_Pin|SEG8_Pin;
  GPIO_InitStruct.Mode = GPIO_MODE_AF_PP;
  GPIO_InitStruct.Pull = GPIO_NOPULL;
  GPIO_InitStruct.Speed = GPIO_SPEED_FREQ_LOW;
  GPIO_InitStruct.Alternate = GPIO_AF11_LCD;
  HAL_GPIO_Init(GPIOD, &GPIO_InitStruct);

  /*Configure GPIO pins : OTG_FS_PowerSwitchOn_Pin OTG_FS_VBUS_Pin */
  GPIO_InitStruct.Pin = OTG_FS_PowerSwitchOn_Pin|OTG_FS_VBUS_Pin;
  GPIO_InitStruct.Mode = GPIO_MODE_OUTPUT_PP;
  GPIO_InitStruct.Pull = GPIO_NOPULL;
  GPIO_InitStruct.Speed = GPIO_SPEED_FREQ_LOW;
  HAL_GPIO_Init(GPIOC, &GPIO_InitStruct);

  /*Configure GPIO pins : EXT_RST_Pin GYRO_INT1_Pin */
  GPIO_InitStruct.Pin = EXT_RST_Pin|GYRO_INT1_Pin;
  GPIO_InitStruct.Mode = GPIO_MODE_EVT_RISING;
  GPIO_InitStruct.Pull = GPIO_NOPULL;
  HAL_GPIO_Init(GPIOD, &GPIO_InitStruct);

  /*Configure GPIO pins : MEMS_SCK_Pin MEMS_MISO_Pin MEMS_MOSI_Pin */
  GPIO_InitStruct.Pin = MEMS_SCK_Pin|MEMS_MISO_Pin|MEMS_MOSI_Pin;
  GPIO_InitStruct.Mode = GPIO_MODE_AF_PP;
  GPIO_InitStruct.Pull = GPIO_NOPULL;
  GPIO_InitStruct.Speed = GPIO_SPEED_FREQ_VERY_HIGH;
  GPIO_InitStruct.Alternate = GPIO_AF5_SPI2;
  HAL_GPIO_Init(GPIOD, &GPIO_InitStruct);

  /*Configure GPIO pins : USART_TX_Pin USART_RX_Pin */
  GPIO_InitStruct.Pin = USART_TX_Pin|USART_RX_Pin;
  GPIO_InitStruct.Mode = GPIO_MODE_AF_PP;
  GPIO_InitStruct.Pull = GPIO_PULLUP;
  GPIO_InitStruct.Speed = GPIO_SPEED_FREQ_VERY_HIGH;
  GPIO_InitStruct.Alternate = GPIO_AF7_USART2;
  HAL_GPIO_Init(GPIOD, &GPIO_InitStruct);

  /*Configure GPIO pin : GYRO_CS_Pin */
  GPIO_InitStruct.Pin = GYRO_CS_Pin;
  GPIO_InitStruct.Mode = GPIO_MODE_OUTPUT_PP;
  GPIO_InitStruct.Pull = GPIO_NOPULL;
  GPIO_InitStruct.Speed = GPIO_SPEED_FREQ_VERY_HIGH;
  HAL_GPIO_Init(GYRO_CS_GPIO_Port, &GPIO_InitStruct);

  /*Configure GPIO pin : M3V3_REG_ON_Pin */
  GPIO_InitStruct.Pin = M3V3_REG_ON_Pin;
  GPIO_InitStruct.Mode = GPIO_MODE_OUTPUT_PP;
  GPIO_InitStruct.Pull = GPIO_NOPULL;
  GPIO_InitStruct.Speed = GPIO_SPEED_FREQ_LOW;
  HAL_GPIO_Init(M3V3_REG_ON_GPIO_Port, &GPIO_InitStruct);

  /*Configure GPIO pins : I2C1_SCL_Pin I2C1_SDA_Pin */
  GPIO_InitStruct.Pin = I2C1_SCL_Pin|I2C1_SDA_Pin;
  GPIO_InitStruct.Mode = GPIO_MODE_AF_OD;
  GPIO_InitStruct.Pull = GPIO_NOPULL;
  GPIO_InitStruct.Speed = GPIO_SPEED_FREQ_VERY_HIGH;
  GPIO_InitStruct.Alternate = GPIO_AF4_I2C1;
  HAL_GPIO_Init(GPIOB, &GPIO_InitStruct);

  /*Configure GPIO pin : GYRO_INT2_Pin */
  GPIO_InitStruct.Pin = GYRO_INT2_Pin;
  GPIO_InitStruct.Mode = GPIO_MODE_EVT_RISING;
  GPIO_InitStruct.Pull = GPIO_NOPULL;
  HAL_GPIO_Init(GYRO_INT2_GPIO_Port, &GPIO_InitStruct);

  /*Configure GPIO pin : XL_CS_Pin */
  GPIO_InitStruct.Pin = XL_CS_Pin;
  GPIO_InitStruct.Mode = GPIO_MODE_OUTPUT_PP;
  GPIO_InitStruct.Pull = GPIO_NOPULL;
  GPIO_InitStruct.Speed = GPIO_SPEED_FREQ_LOW;
  HAL_GPIO_Init(XL_CS_GPIO_Port, &GPIO_InitStruct);

  /*Configure GPIO pin : XL_INT_Pin */
  GPIO_InitStruct.Pin = XL_INT_Pin;
  GPIO_InitStruct.Mode = GPIO_MODE_EVT_RISING;
  GPIO_InitStruct.Pull = GPIO_NOPULL;
  HAL_GPIO_Init(XL_INT_GPIO_Port, &GPIO_InitStruct);

}

void Error_Handler(void)
{
}
